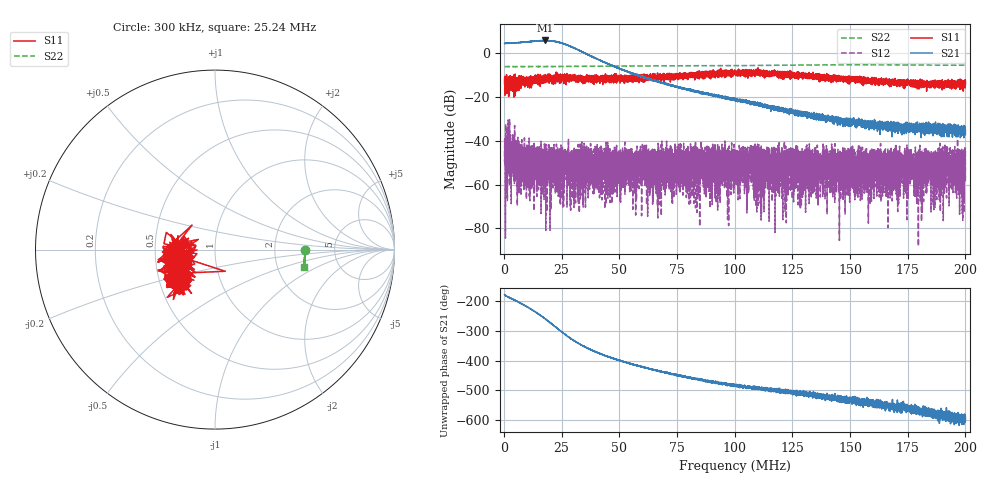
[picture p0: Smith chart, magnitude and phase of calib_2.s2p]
# Hz S DB R 50
! CMT, M5065, 19127446, 24.2.4/2
! Date: 11/8/2024 3:34:03 PM
! Data: Format (Calibration Info)
! Freq	S11:dB/Ang(F2)	S21:dB/Ang(F2)	S12:dB/Ang(F2)	S22:dB/Ang(F2)
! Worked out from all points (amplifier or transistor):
!   9000 points, 300 kHz to 200 MHz, reference 50 ohm
!   highest |S21| = 5.9 dB at 17.85 MHz (marker M1)
!   |S21| within 3 dB of that: start of sweep to 29.51 MHz
!   unconditionally stable (mu >= 1): start of sweep to end of sweep
!   at 33.59 MHz: K = 76.14, MAG = 2.5 dB, |S12| = -47.8 dB
!   at 100.2 MHz: K = 587.63, MAG = -19.4 dB, |S12| = -44.2 dB
!   at 200 MHz: K = 3508.32, MAG = -35.4 dB, |S12| = -43.2 dB
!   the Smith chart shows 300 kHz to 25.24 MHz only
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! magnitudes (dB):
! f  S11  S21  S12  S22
! 300 kHz  -11.5  4.6  -44.4  -6.0
! 7.557 MHz  -14.7  5.1  -47.7  -6.0
! 15.55 MHz  -11.5  5.8  -49.1  -6.0
! 17.85 MHz  -11.2  5.9  -52.8  -6.0
! 20.47 MHz  -10.5  5.8  -43.1  -5.9
! 33.59 MHz  -11.5  0.9  -47.8  -5.9
! 66.87 MHz  -10.6  -13.2  -47.7  -5.7
! 100.2 MHz  -7.9  -21.6  -44.2  -5.5
! 133.4 MHz  -10.7  -27.7  -51.0  -5.3
! 139.6 MHz  -10.5  -28.8  -57.3  -5.2
! 145 MHz  -10.1  -29.7  -57.2  -5.2
! 150.9 MHz  -11.7  -31.4  -46.8  -5.2
! 153 MHz  -11.8  -30.2  -51.3  -5.2
! 154.6 MHz  -11.0  -32.8  -47.0  -5.2
! 166.7 MHz  -13.3  -33.5  -57.7  -5.2
! 173.8 MHz  -13.7  -35.6  -54.2  -5.2
! 176.4 MHz  -13.1  -33.8  -43.6  -5.3
! 178.6 MHz  -13.7  -31.7  -51.6  -5.3
! 183.8 MHz  -14.5  -33.5  -45.6  -5.3
! 197.9 MHz  -13.8  -35.3  -49.1  -5.3
! 199 MHz  -14.7  -36.8  -50.7  -5.3
! 200 MHz  -14.1  -37.1  -43.2  -5.4
